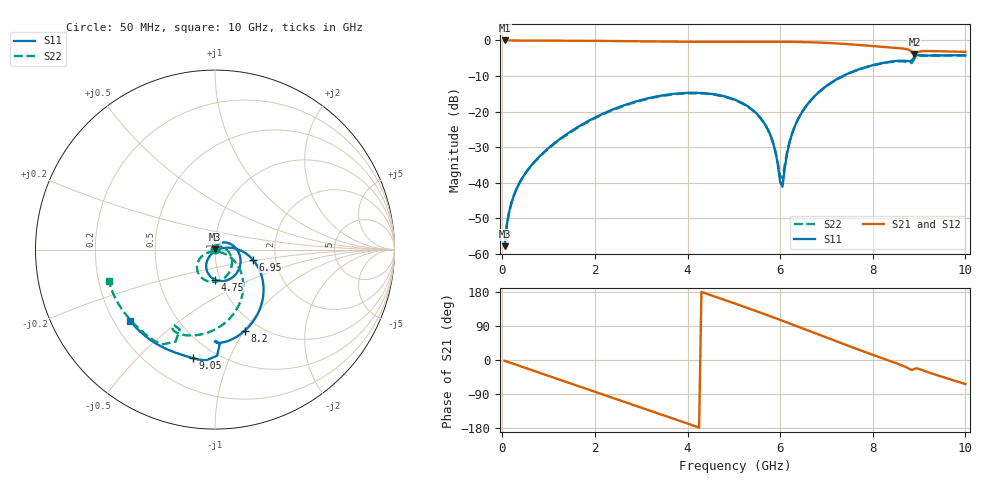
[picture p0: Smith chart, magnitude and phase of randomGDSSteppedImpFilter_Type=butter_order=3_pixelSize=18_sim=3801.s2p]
! freq	dB(S11)	phase(S11)	dB(S12)	phase(S12)
!  dB(S21)	phase(S21)	dB(S22)	phase(S22)
!S-par simulation data
#  GHz  S  DB  R 50
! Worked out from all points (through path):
!   200 points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, 50 MHz to 10 GHz, reference 50 ohm
!   highest |S21| = 0.00 dB at 50 MHz (marker M1); lowest = -3.8 dB at 8.9 GHz (marker M2)
!   group delay of S21, straight-line fit = 120 ps
!   lowest |S11| = -57.8 dB at 50 MHz (marker M3), VSWR 1.00, Z = 50 + j0.121 ohm
!   |S11| at or under -10 dB: start of sweep to 7.353 GHz
!   |S22| runs from -57.6 to -4.2 dB; largest |S21 - S12| = 0
!   S11 on the Smith chart (normalised r, x): 50 MHz: 1.00, +0.00; 4.75 GHz: 0.94, -0.32; 6.95 GHz: 1.52, -0.18; 8.2 GHz: 0.86, -1.00; 9.05 GHz: 0.38, -0.74; 10 GHz: 0.27, -0.34
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0.05  -57.79 70.3  -0.00 -2.1  -0.00 -2.1  -57.61 68.1
0.1  -51.63 78.6  -0.01 -4.2  -0.01 -4.2  -51.54 75.0
0.2  -45.54 81.3  -0.02 -8.4  -0.02 -8.4  -45.50 74.3
0.45  -38.28 78.2  -0.03 -18.9  -0.03 -18.9  -38.30 63.0
1.75  -23.41 36.4  -0.10 -73.3  -0.10 -73.3  -23.59 -0.8
2.55  -18.58 3.2  -0.18 -106.9  -0.18 -106.9  -18.74 -35.0
3.4  -15.57 -33.2  -0.30 -142.6  -0.30 -142.6  -15.71 -69.7
4.1  -14.70 -63.1  -0.38 -171.9  -0.38 -171.9  -14.84 -97.6
4.75  -15.55 -90.6  -0.40 160.7  -0.40 160.7  -15.68 -123.2
5.05  -16.78 -103.2  -0.40 147.9  -0.40 147.9  -16.91 -134.8
5.7  -24.16 -127.8  -0.37 119.4  -0.37 119.4  -24.29 -156.3
5.85  -28.86 -129.3  -0.37 112.6  -0.37 112.6  -28.92 -155.4
6.05  -41.08 -37.2  -0.38 103.5  -0.38 103.5  -38.60 -70.8
6.25  -26.51 10.6  -0.40 94.3  -0.40 94.3  -26.40 -23.4
6.7  -16.23 -3.9  -0.53 73.4  -0.53 73.4  -16.30 -34.8
6.95  -13.26 -14.8  -0.65 61.6  -0.65 61.6  -13.35 -45.0
7.55  -8.84 -41.6  -1.12 33.8  -1.12 33.8  -8.94 -70.8
8.2  -6.36 -69.7  -1.79 5.0  -1.79 5.0  -6.47 -98.1
8.35  -6.02 -75.9  -1.95 -1.5  -1.95 -1.5  -6.14 -104.3
8.9  -4.56 -88.9  -3.83 -23.2  -3.83 -23.2  -5.08 -113.2
9.05  -4.19 -101.6  -3.05 -25.9  -3.05 -25.9  -4.29 -126.6
10  -4.21 -140.1  -3.20 -63.4  -3.20 -63.4  -4.20 -163.5
